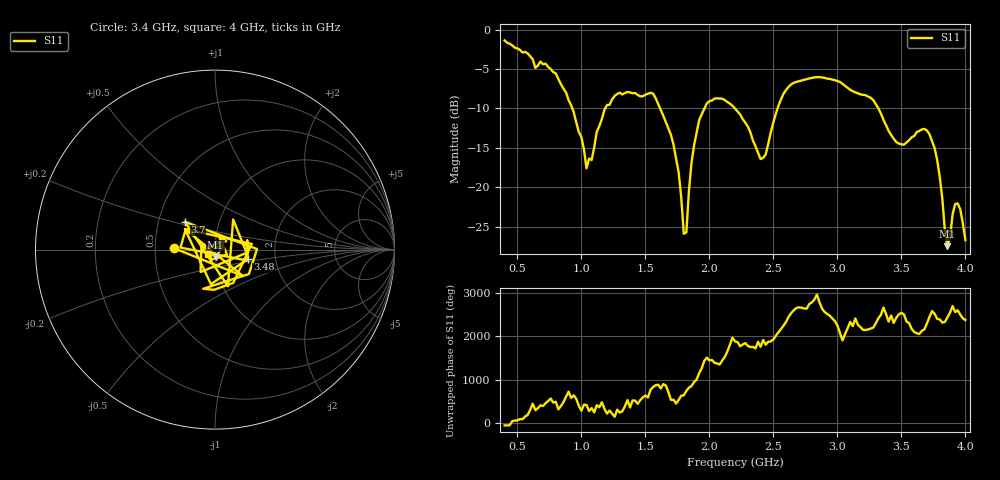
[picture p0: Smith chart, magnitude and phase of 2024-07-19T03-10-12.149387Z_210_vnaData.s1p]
!Created with skrf (http://scikit-rf.org).
# Hz S RI R 50.0
!freq ReS11 ImS11
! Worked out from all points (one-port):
!   181 points, 400 MHz to 4 GHz, reference 50 ohm
!   lowest |S11| = -27.5 dB at 3.86 GHz (marker M1), VSWR 1.09, Z = 50.1 - j4.23 ohm
!   |S11| at or under -10 dB: 1.615 GHz to 1.961 GHz (346.4 MHz wide, 19.4 % of centre); 2.199 GHz to 2.532 GHz (333.9 MHz wide, 14.1 % of centre); 3.321 GHz to end of sweep (the widest 3 of 4)
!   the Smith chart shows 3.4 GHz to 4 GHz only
!   S11 on the Smith chart (normalised r, x): 3.4 GHz: 0.63, +0.01; 3.48 GHz: 1.43, -0.16; 3.7 GHz: 0.68, +0.22; 4 GHz: 0.92, -0.05
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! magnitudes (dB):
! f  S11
! 400 MHz  -1.4
! 860 MHz  -7.5
! 1 GHz  -13.6
! 1.04 GHz  -17.6
! 1.18 GHz  -10.2
! 1.3 GHz  -8.0
! 1.56 GHz  -8.1
! 1.7 GHz  -13.4
! 1.76 GHz  -18.1
! 1.8 GHz  -25.9
! 1.82 GHz  -25.7
! 1.86 GHz  -16.9
! 1.92 GHz  -11.5
! 2.04 GHz  -8.7
! 2.2 GHz  -10.0
! 2.4 GHz  -16.4
! 2.56 GHz  -8.8
! 2.66 GHz  -6.7
! 3.1 GHz  -7.6
! 3.28 GHz  -8.9
! 3.4 GHz  -12.8
! 3.48 GHz  -14.5
! 3.56 GHz  -14.0
! 3.7 GHz  -12.8
! 3.78 GHz  -16.6
! 3.86 GHz  -27.5
! 3.92 GHz  -22.1
! 4 GHz  -26.7
